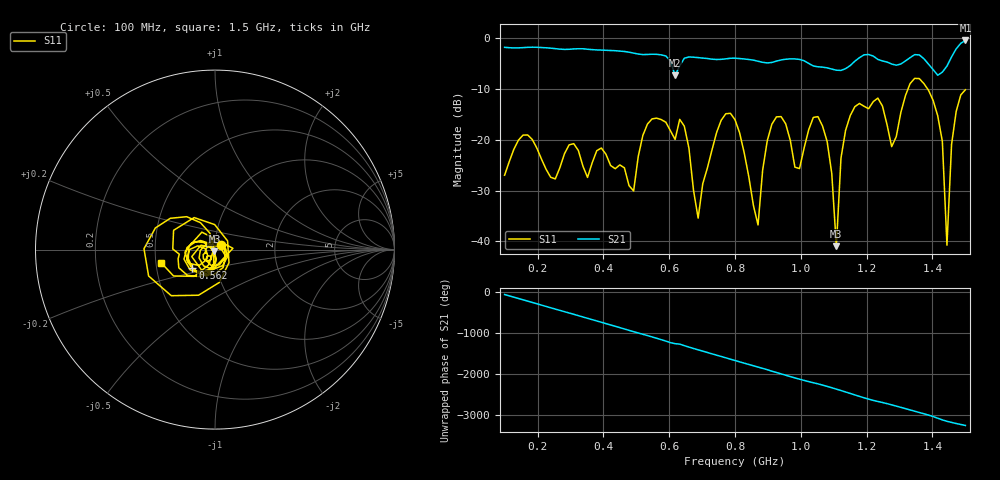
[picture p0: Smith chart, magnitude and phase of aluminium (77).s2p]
! NanoVNA-App
! Date: 2025-09-25 14:55:52
! Start: 100MHz Stop: 1,5GHz Points: 101
! S-Parameter data: F S11 S21 S12 S22
# Hz S RI R 50
!  Frequency  S11_Real  S11_Imag  S21_Real  S21_Imag  S12_Real  S12_Imag  S22_Real  S22_Imag
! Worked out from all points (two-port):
!   101 points, 100 MHz to 1.5 GHz, reference 50 ohm
!   highest |S21| = -0.57 dB at 1.5 GHz (marker M1); lowest = -7.4 dB at 618 MHz (marker M2)
!   |S21| within 3 dB of the highest: start of sweep to 587 MHz; 1.46 GHz to end of sweep (the widest 2 of 4)
!   lowest |S11| = -40.9 dB at 1.108 GHz (marker M3), VSWR 1.02, Z = 49.7 - j0.843 ohm
!   |S11| at or under -10 dB: start of sweep to 1.326 GHz; 1.384 GHz to end of sweep
!   S12 and S22 are empty: the file has one direction only
!   S11 on the Smith chart (normalised r, x): 100 MHz: 1.07, +0.06; 562 MHz: 0.76, -0.16; 1.5 GHz: 0.54, -0.09
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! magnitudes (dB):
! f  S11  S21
! 100 MHz  -27.0  -1.9
! 338 MHz  -25.2  -2.2
! 492 MHz  -30.1  -3.1
! 562 MHz  -15.8  -3.3
! 576 MHz  -16.1  -3.4
! 618 MHz  -20.0  -7.4
! 688 MHz  -35.4  -3.9
! 800 MHz  -16.1  -4.0
! 870 MHz  -36.8  -4.6
! 912 MHz  -17.0  -4.9
! 996 MHz  -25.7  -4.3
! 1.038 GHz  -15.7  -5.6
! 1.08 GHz  -20.4  -5.9
! 1.108 GHz  -40.9  -6.4
! 1.122 GHz  -23.6  -6.4
! 1.164 GHz  -13.6  -4.6
! 1.276 GHz  -21.4  -5.2
! 1.388 GHz  -10.3  -5.2
! 1.43 GHz  -20.4  -6.8
! 1.444 GHz  -40.7  -5.6
! 1.458 GHz  -21.0  -3.8
! 1.5 GHz  -10.2  -0.6
